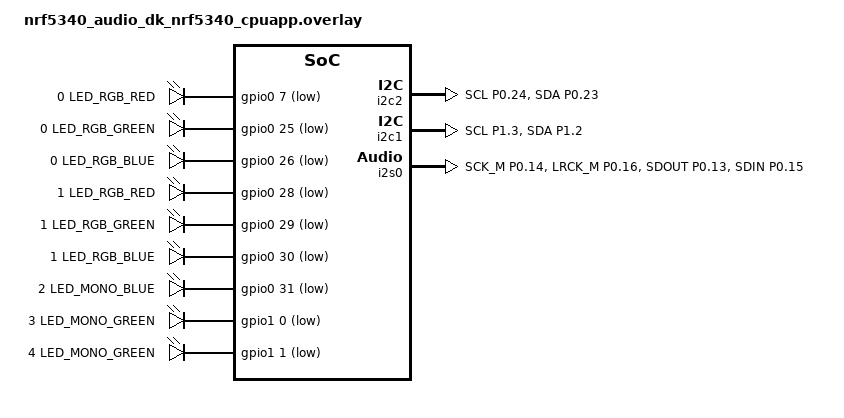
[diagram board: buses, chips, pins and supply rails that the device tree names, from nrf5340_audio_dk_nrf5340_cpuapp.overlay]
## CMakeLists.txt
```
cmake_minimum_required(VERSION 3.20.0)
find_package(Zephyr REQUIRED HINTS $ENV{ZEPHYR_BASE})

project(codec_test)

target_sources(app PRIVATE src/main.c)

target_sources(app PRIVATE src/i2c_helpers.c)

target_sources(app PRIVATE src/pmic.c)

target_sources(app PRIVATE src/codec_sgtl5000.c)
```

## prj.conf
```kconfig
CONFIG_GPIO=y

CONFIG_I2C=y

CONFIG_LOG=y

CONFIG_SERIAL=y

CONFIG_I2S=y
```

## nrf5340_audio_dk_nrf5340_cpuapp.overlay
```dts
&{/} {
    leds {
        compatible = "gpio-leds";

        rgb1_red: led_0 {
			gpios = <&gpio0 7 (GPIO_ACTIVE_LOW | GPIO_OPEN_DRAIN)>;
			label = "0 LED_RGB_RED";
		};

		rgb1_green: led_1 {
			gpios = <&gpio0 25 (GPIO_ACTIVE_LOW | GPIO_OPEN_DRAIN)>;
			label = "0 LED_RGB_GREEN";
		};

		rgb1_blue: led_2 {
			gpios = <&gpio0 26 (GPIO_ACTIVE_LOW | GPIO_OPEN_DRAIN)>;
			label = "0 LED_RGB_BLUE";
		};

		rgb2_red: led_3 {
			gpios = <&gpio0 28 (GPIO_ACTIVE_LOW | GPIO_OPEN_DRAIN)>;
			label = "1 LED_RGB_RED";
		};

		rgb2_green: led_4 {
			gpios = <&gpio0 29 (GPIO_ACTIVE_LOW | GPIO_OPEN_DRAIN)>;
			label = "1 LED_RGB_GREEN";
		};

		rgb2_blue: led_5 {
			gpios = <&gpio0 30 (GPIO_ACTIVE_LOW | GPIO_OPEN_DRAIN)>;
			label = "1 LED_RGB_BLUE";
		};

		led1_blue: led_6 {
			gpios = <&gpio0 31 (GPIO_ACTIVE_LOW | GPIO_OPEN_DRAIN)>;
			label = "2 LED_MONO_BLUE";
		};

		led2_green: led_7 {
			gpios = <&gpio1 0 (GPIO_ACTIVE_LOW | GPIO_OPEN_DRAIN)>;
			label = "3 LED_MONO_GREEN";
		};

		led3_green: led_8 {
			gpios = <&gpio1 1 (GPIO_ACTIVE_LOW | GPIO_OPEN_DRAIN)>;
			label = "4 LED_MONO_GREEN";
		};
    };
};

&i2c2 {
    status = "okay";
    pinctrl-0 = <&i2c2_default>;
    pinctrl-1 = <&i2c2_sleep>;
    pinctrl-names = "default", "sleep";
};

&i2c1 {
    status = "okay";
    pinctrl-0 = <&i2c1_default>;
    pinctrl-1 = <&i2c1_sleep>;
    pinctrl-names = "default", "sleep";
};

&clock {
	hfclkaudio-frequency = <12288000>;
};

&i2s0 {
	compatible = "nordic,nrf-i2s";
	status = "okay";
	pinctrl-0 = <&i2s0_default>;
	pinctrl-1 = <&i2s0_sleep>;
	pinctrl-names = "default", "sleep";
	clock-source = "ACLK";
};

&pinctrl {
    i2c1_default: i2c1_default {
        group1 {
            psels = <NRF_PSEL(TWIM_SCL, 1, 3)>,
                    <NRF_PSEL(TWIM_SDA, 1, 2)>;
        };
    };

    i2c1_sleep: i2c1_sleep {
        group1 {
            psels = <NRF_PSEL(TWIM_SCL, 1, 3)>,
                    <NRF_PSEL(TWIM_SDA, 1, 2)>;
        };
    };

	i2c2_default: i2c2_default {
        group1 {
            psels = <NRF_PSEL(TWIM_SCL, 0, 24)>, <NRF_PSEL(TWIM_SDA, 0, 23)>;
        };
    };

    i2c2_sleep: i2c2_sleep {
        group1 {
            psels = <NRF_PSEL(TWIM_SCL, 0, 24)>, <NRF_PSEL(TWIM_SDA, 0, 23)>;
        };
    };

	i2s0_default: i2s0_default {
		group1 {
			psels = <NRF_PSEL(I2S_SCK_M, 0, 14)>,
				<NRF_PSEL(I2S_LRCK_M, 0, 16)>,
				<NRF_PSEL(I2S_SDOUT, 0, 13)>,
				<NRF_PSEL(I2S_SDIN, 0, 15)>;
		};
	};

	i2s0_sleep: i2s0_sleep {
		group1 {
			psels = <NRF_PSEL(I2S_SCK_M, 0, 14)>,
				<NRF_PSEL(I2S_LRCK_M, 0, 16)>,
				<NRF_PSEL(I2S_SDOUT, 0, 13)>,
				<NRF_PSEL(I2S_SDIN, 0, 15)>;
			low-power-enable;
		};
	};
};
```

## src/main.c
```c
#include <zephyr/kernel.h>
#include <zephyr/sys/printk.h>
#include <zephyr/drivers/i2c.h>
#include <zephyr/drivers/i2s.h>
#include "pmic.h"
#include "i2c_helpers.h"
#include "codec_sgtl5000.h"

#define SAMPLE_RATE 32000
#define BLOCK_SIZE 2048
#define BLOCK_BYTES (BLOCK_SIZE * sizeof(int16_t))
#define NUM_BLOCKS 32
#define PRELOAD_BLOCKS  4

K_MEM_SLAB_DEFINE(i2s_slab, BLOCK_BYTES, NUM_BLOCKS, 4);

const struct device *codec_i2s = DEVICE_DT_GET(DT_NODELABEL(i2s0));

int i2s_start(void)
{
    struct i2s_config cfg = {
        .word_size      = 16,
        .channels       = 2,
        .format         = I2S_FMT_DATA_FORMAT_I2S,
        .options        = I2S_OPT_BIT_CLK_MASTER |
                          I2S_OPT_FRAME_CLK_MASTER,
        .frame_clk_freq = SAMPLE_RATE,
        .mem_slab       = &i2s_slab,
        .block_size     = BLOCK_BYTES,
        .timeout        = 1000,
    };

    int ret;

    ret = i2s_configure(codec_i2s, I2S_DIR_RX, &cfg);
    if (ret < 0) return ret;

    ret = i2s_configure(codec_i2s, I2S_DIR_TX, &cfg);
    if (ret < 0) return ret;

    return 0;
}


int main(void)
{
    int ret;
    void *blk;
    size_t size;

    ret = pmic_init();
    if (ret) return -1;

    pmic_debug_dump();

    codec_init();

    ret = i2s_start();
    if (ret) return -1;

    /* preload TX silence */
    for (int i = 0; i < PRELOAD_BLOCKS; i++) {
        ret = k_mem_slab_alloc(&i2s_slab, &blk, K_FOREVER);
        if (ret) return -1;

        memset(blk, 0, BLOCK_BYTES);

        ret = i2s_write(codec_i2s, blk, BLOCK_BYTES);
        if (ret) return -1;
    }

    /* start streams */
    ret = i2s_trigger(codec_i2s, I2S_DIR_BOTH, I2S_TRIGGER_START);
    if (ret) return -1;

    /* zero-copy pass-through */
    while (1) {
        ret = i2s_read(codec_i2s, &blk, &size);
        if (ret < 0) {
            printk("RX err %d\n", ret);
            break;
        }

        ret = i2s_write(codec_i2s, blk, size);
        if (ret < 0) {
            printk("TX err %d\n", ret);
            break;
        }
    }

    return 0;
}
```

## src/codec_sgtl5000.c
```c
#include <zephyr/kernel.h>
#include <zephyr/drivers/i2c.h>
#include <zephyr/drivers/i2s.h>
#include <zephyr/sys/printk.h>
#include <zephyr/device.h>
#include "i2c_helpers.h"

/* ===================== DEVICE ADDRESS ===================== */

#define SGTL5000_ADDR 0x0A

/* ===================== REGISTERS ===================== */

#define CHIP_ANA_POWER 0x0030
#define CHIP_LINREG_CTRL 0x0026
#define CHIP_REF_CTRL 0x0028
#define CHIP_LINE_OUT_CTRL 0x002C
#define CHIP_SHORT_CTRL 0X03C
#define CHIP_ANA_CTRL 0x0024
#define CHIP_DIG_POWER 0x0002
#define CHIP_LINE_OUT_VOL 0x002E
#define CHIP_CLK_CTRL 0x0004
#define CHIP_I2S_CTRL 0x0006
#define CHIP_SSS_CTRL 0x000A
#define CHIP_ANA_ADC_CTRL 0x0020
#define CHIP_DAC_VOL 0x0010
#define CHIP_ADCDAC_CTRL 0x000E

/* ===================== I2C ===================== */

const struct device *codec_i2c = DEVICE_DT_GET(DT_NODELABEL(i2c1));

/* ===================== HELPERS ===================== */

#define BIT_SHIFT(x) (1 << (x))

int codec_write(uint16_t reg, uint16_t val)
{
    return i2c_reg_write16_16(codec_i2c, SGTL5000_ADDR, reg, val);
}

int codec_mod(uint16_t reg, uint16_t clear_mask, uint16_t set_mask)
{
    return i2c_reg_update16_16(codec_i2c, SGTL5000_ADDR, reg, clear_mask, set_mask);
}

/* ===================== INIT SECTION ===================== */

void codec_init(void)
{
        //--------------- Power Supply Configuration----------------

        // Power up Bias reference and set stereo ADC/DAC, everything else power down
        codec_write(CHIP_ANA_POWER, 0x4060);

        // Configure the charge pump to use the VDDIO rail (set bit_ 5 and bit_SHIFT 6)
        codec_mod(CHIP_LINREG_CTRL, ~(BIT_SHIFT(5) | BIT_SHIFT(6)), (BIT_SHIFT(5) | BIT_SHIFT(6)));

        //---- Reference Voltage and Bias Current Configuration----

        // Set ground, ADC, DAC reference voltage (bits 8:4). Value 1.525V
        // The bias current should be set to 50% of the nominal value (bits 3:1)
        codec_write(CHIP_REF_CTRL, 0x1DE);

        // Set LINEOUT reference voltage to VDDIO/2 (1.65 V) (bits 5:0) and bias current (bits 11:8) to the recommended value of 0.36 mA for 10 kOhm load with 1.0 nF capacitance
        codec_mod(CHIP_LINE_OUT_CTRL, ~0x0322, 0x0322);

        //------------Other Analog Block Configurations--------------

        // Configure slow ramp up rate to minimize pop (bit 0)
        codec_mod(CHIP_REF_CTRL, ~BIT_SHIFT(0), BIT_SHIFT(0));

        // Enable short detect mode for headphone left/right
        // and center channel and set short detect current trip level
        // to 75 mA
        codec_write(CHIP_SHORT_CTRL, 0x1106);

        // Enable Zero-cross detect if needed for HP_OUT (bit 5) and ADC (bit 1)
        // ADC - mute, ZDC, LINEIN
        // HP - mute, ZDC, DAC
        // LINEOUT - mute
        codec_write(CHIP_ANA_CTRL, 0x0137);

        //------------Power up Inputs/Outputs/Digital Blocks---------
        // Power up LINEOUT, ADC, DAC
        codec_mod(CHIP_ANA_POWER, ~(0xB), 0xB);
        // Power up VAG (recommended sequence by datasheet)
        codec_mod(CHIP_ANA_POWER, ~0x80, 0x80);
        k_msleep(100);

        // Power up desired digital blocks
        // I2S IN/OUT - enabled
        // ADC/DAC - enabled
        codec_write(CHIP_DIG_POWER, 0x0063);

        //----------------Set LINEOUT Volume Level-------------------

        // Set the LINEOUT volume level based on voltage reference (VAG)
        // values using this formula
        // Value = (int)(40*log(VAG_VAL/LO_VAGCNTRL) + 15)
        // Assuming VAG_VAL and LO_VAGCNTRL is set to 0.9 V and
        //1.65 V respectively, the // left LO vol (bits 12:8) and right LO
        //volume (bits 4:0) value should be set // to 5
        // Recommended for 3.3V VDDIO and 3.2V VDDIO 
        codec_write(CHIP_LINE_OUT_VOL, 0x0E0E);

        //-------------------------Other-----------------------------

        // Configure SYS_FS clock to 32 kHz (bits 3:2)
        // Configure MCLK_FREQ to 384*Fs (bits 1:0)
        codec_mod(CHIP_CLK_CTRL, ~0xF, 0x1);

        // Configure the I2S in slave mode (bit 7)
        // Data length 16 bit
        // SCLK 64 * Fs
        codec_write(CHIP_I2S_CTRL, 0x30);

        //-------------------Input/Output Routing---------------------

        // I2S_DOUT <- ADC
        // DAC <- I2S_IN
        // DAP <- ADC (Default)
        // DAP_MIX <- ADC (Default)
        codec_write(CHIP_SSS_CTRL, 0x10);

        // Unmute ADC (bit 0) and LINEOUT (bit 8)
        codec_mod(CHIP_ANA_CTRL, ~0x101, 0x0);

        //------------------ Input Volume Control---------------------

        // Configure ADC left and right analog volume to desired default.
        // ADC range reduced by 6.0 dB (bit 8)
        // ADC Right/Left channel volume 0 dB (bits 7:4 and 3:0)
        codec_write(CHIP_ANA_ADC_CTRL, 0x144);

        //---------------- Volume and Mute Control---------------------

        // LINEOUT and DAC volume control
        // Mute Line Out
        codec_mod(CHIP_ANA_CTRL, ~0x100, 0x100);

        // Set volume of 0 dB
        codec_write(CHIP_DAC_VOL, 0x3C3C);

        // Unmute DAC left/right
        codec_mod(CHIP_ADCDAC_CTRL, ~0xC, 0x00);

        // Enable volume ramp exponential
        codec_mod(CHIP_ADCDAC_CTRL, ~0x300, 0x300);

        // Umnute Line Out
        codec_mod(CHIP_ANA_CTRL, ~0x100, 0x000);
}

/* ===================== PUBLIC API ===================== */

//TODO
int codec_set_input_gain();

//TODO
int codec_set_output_volume();
```

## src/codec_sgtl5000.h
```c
#pragma once

/**
 * @brief Initialize SGTL5000
 *
 * Must be called once at startup.
 *
 * TODO full spec
 * 
 * @return 0 on success, negative error code on failure
 */
int codec_init();

/**
 * @brief Sets input gain
 *
 * TODO accepted values
 *
 * @return 0 on success, negative error code on failure
 */
int codec_set_input_gain();

/**
 * @brief Changes output voltage
 *
 * TODO accepted values
 *
 * @return 0 on success, negative error code on failure
 */
int codec_set_output_volume();
```

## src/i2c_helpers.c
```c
#include <zephyr/drivers/i2c.h>
#include "i2c_helpers.h"

int i2c_reg_write16(const struct device *i2c,
                    uint8_t addr,
                    uint16_t reg,
                    uint8_t val)
{
    uint8_t buf[3];

    buf[0] = (reg >> 8) & 0xFF;
    buf[1] = reg & 0xFF;
    buf[2] = val;

    return i2c_write(i2c, buf, 3, addr);
}

int i2c_reg_read16(const struct device *i2c,
                   uint8_t addr,
                   uint16_t reg,
                   uint8_t *val)
{
    uint8_t addr_buf[2];

    addr_buf[0] = (reg >> 8) & 0xFF;
    addr_buf[1] = reg & 0xFF;

    return i2c_write_read(i2c, addr, addr_buf, 2, val, 1);
}

int i2c_reg_write16_16(const struct device *i2c,
                       uint8_t addr,
                       uint16_t reg,
                       uint16_t val)
{
    uint8_t buf[4];

    buf[0] = (reg >> 8) & 0xFF;
    buf[1] = reg & 0xFF;
    buf[2] = (val >> 8) & 0xFF;
    buf[3] = val & 0xFF;

    return i2c_write(i2c, buf, 4, addr);
}

int i2c_reg_read16_16(const struct device *i2c,
                      uint8_t addr,
                      uint16_t reg,
                      uint16_t *val)
{
    uint8_t addr_buf[2];
    uint8_t data[2];
    int ret;

    addr_buf[0] = (reg >> 8) & 0xFF;
    addr_buf[1] = reg & 0xFF;

    ret = i2c_write_read(i2c, addr, addr_buf, 2, data, 2);
    if (ret) {
        return ret;
    }

    *val = (data[0] << 8) | data[1];

    return 0;
}

int i2c_reg_update16_16(const struct device *i2c,
                        uint8_t addr,
                        uint16_t reg,
                        uint16_t clear_mask,
                        uint16_t set_value)
{
    int ret;
    uint16_t val;

    ret = i2c_reg_read16_16(i2c, addr, reg, &val);
    if (ret) return ret;

    val = (val & clear_mask) | set_value;

    return i2c_reg_write16_16(i2c, addr, reg, val);
}
```

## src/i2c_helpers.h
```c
#pragma once

#include <zephyr/device.h>
#include <stdint.h>

int i2c_reg_write16(const struct device *i2c,
                    uint8_t addr,
                    uint16_t reg,
                    uint8_t val);

int i2c_reg_read16(const struct device *i2c,
                   uint8_t addr,
                   uint16_t reg,
                   uint8_t *val);

int i2c_reg_write16_16(const struct device *i2c,
                       uint8_t addr,
                       uint16_t reg,
                       uint16_t val);

int i2c_reg_read16_16(const struct device *i2c,
                      uint8_t addr,
                      uint16_t reg,
                      uint16_t *val);

int i2c_reg_update16_16(const struct device *i2c,
                        uint8_t addr,
                        uint16_t reg,
                        uint16_t clear_mask,
                        uint16_t set_mask);
```

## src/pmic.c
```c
#include <zephyr/kernel.h>
#include <zephyr/drivers/i2c.h>
#include <zephyr/sys/printk.h>
#include <zephyr/device.h>
#include "i2c_helpers.h"

/* ===================== CONFIG ===================== */

#define NPM1304_ADDR        0x6B

/* ===================== BUCKs ===================== */

#define BUCK_STATUS_REG     0x0434
#define BUCK1_VOUT_REG      0x0408
#define BUCK2_VOUT_REG      0x040A
#define BUCK_SW_CTRL_REG    0x040F

#define BUCK1_VOUT_VAL      24U
#define BUCK2_VOUT_VAL      24U
#define BUCK_SW_ENABLE_ALL  0x03

/* ===================== LDOs ====================== */

#define LDO_STATUS_REG      0x0804
#define LDO1_MODE_REG       0x0808
#define LDO2_MODE_REG       0x0809
#define LDO1_VOUT_REG       0x080C
#define LDO2_VOUT_REG       0x080D
#define LDO1_SET_REG        0x0800
#define LDO2_SET_REG        0x0802

#define LDO1_VOUT_VAL       10U
#define LDO2_VOUT_VAL       8U

#define LDO_MODE_ENABLE     1U
#define LDO_ENABLE          1U

/* ===================== LEDs ====================== */

#define LED0_MODE_REG       0x0A00
#define LED1_MODE_REG       0x0A01
#define LED2_MODE_REG       0x0A02

#define LED0_SET_REG        0x0A03
#define LED0_CLR_REG        0x0A04
#define LED1_SET_REG        0x0A05
#define LED1_CLR_REG        0x0A06
#define LED2_SET_REG        0x0A07
#define LED2_CLR_REG        0x0A08

#define LED_MODE_HOST       0x02

static const uint16_t led_mode_regs[] = {
    LED0_MODE_REG,
    LED1_MODE_REG,
    LED2_MODE_REG
};

static const uint16_t led_set_regs[] = {
    LED0_SET_REG,
    LED1_SET_REG,
    LED2_SET_REG
};

static const uint16_t led_clr_regs[] = {
    LED0_CLR_REG,
    LED1_CLR_REG,
    LED2_CLR_REG
};

/* ===================== I2C ====================== */

static const struct device *i2c = DEVICE_DT_GET(DT_NODELABEL(i2c2));

/* ===================== HELPERS ===================== */

#define TRY(x) do { int r = (x); if (r) return r; } while (0)

static int pmic_reg_write(uint16_t reg, uint8_t val)
{
    return i2c_reg_write16(i2c, NPM1304_ADDR, reg, val);
}

static int pmic_reg_read(uint16_t reg, uint8_t *val)
{
    return i2c_reg_read16(i2c, NPM1304_ADDR, reg, val);
}

/* ===================== INIT SECTIONS ===================== */

static int pmic_init_bucks(void)
{
    TRY(pmic_reg_write(BUCK1_VOUT_REG, 10U));
    k_msleep(2);

    TRY(pmic_reg_write(BUCK2_VOUT_REG, BUCK2_VOUT_VAL));
    k_msleep(2);

    TRY(pmic_reg_write(BUCK_SW_CTRL_REG, BUCK_SW_ENABLE_ALL));
    k_msleep(2);

    if (BUCK1_VOUT_VAL>10)
    {
        for (unsigned int voltage = 11U; voltage <= BUCK1_VOUT_VAL; ++voltage)
        {
            TRY(pmic_reg_write(BUCK1_VOUT_REG, voltage));
            k_msleep(2);
        }
    }else
    {
        printk("Forbidden output voltage value!");
    }

    return 0;
}

static int pmic_init_ldos(void)
{
    TRY(pmic_reg_write(LDO1_VOUT_REG, LDO1_VOUT_VAL));
    k_msleep(2);

    TRY(pmic_reg_write(LDO2_VOUT_REG, LDO2_VOUT_VAL));
    k_msleep(2);

    TRY(pmic_reg_write(LDO1_MODE_REG, LDO_MODE_ENABLE));
    k_msleep(2);

    TRY(pmic_reg_write(LDO2_MODE_REG, LDO_MODE_ENABLE));
    k_msleep(2);

    
    TRY(pmic_reg_write(LDO1_SET_REG, LDO_ENABLE));
    k_msleep(2);
    
    for (unsigned int voltage = 2U; voltage <= 22U; ++voltage)
        {
            TRY(pmic_reg_write(LDO1_VOUT_REG, voltage));
            k_msleep(10);
        }

    TRY(pmic_reg_write(LDO2_SET_REG, LDO_ENABLE));
    k_msleep(20);
  
    return 0;
}

static int pmic_init_leds(void)
{
    for (int i = 0; i < 3; i++) {
        TRY(pmic_reg_write(led_mode_regs[i], LED_MODE_HOST));
        k_msleep(2);
    }

    return 0;
}

/* ===================== PUBLIC API ===================== */

int pmic_init(void)
{
    if (!device_is_ready(i2c)) {
        printk("PMIC: I2C not ready\n");
        return -ENODEV;
    }

    int ret;

    ret = pmic_init_bucks();
    if (ret) goto error;

    
    ret = pmic_init_ldos();
    if (ret) goto error;
    

    ret = pmic_init_leds();
    if (ret) goto error;

    printk("PMIC init OK\n");
    return 0;

error:
    printk("PMIC init failed: %d\n", ret);
    return ret;
}

void pmic_debug_dump(void)
{
    uint8_t val;

    printk("\n=== PMIC STATUS ===\n");

    if (!pmic_reg_read(BUCK_STATUS_REG, &val))
        printk("BUCK STATUS: 0x%02X\n", val);
    else
        printk("BUCK STATUS: ERROR\n");

    if (!pmic_reg_read(LDO_STATUS_REG, &val))
        printk("LDO STATUS: 0x%02X\n", val);
    else
        printk("LDO STATUS: ERROR\n");

    if (!pmic_reg_read(BUCK1_VOUT_REG, &val))
        printk("BUCK1 VOUT: %d\n", val);

    if (!pmic_reg_read(BUCK2_VOUT_REG, &val))
        printk("BUCK2 VOUT: %d\n", val);

    if (!pmic_reg_read(LDO1_VOUT_REG, &val))
        printk("LDO1 VOUT: %d\n", val);

    if (!pmic_reg_read(LDO2_VOUT_REG, &val))
        printk("LDO2 VOUT: %d\n", val);

    printk("====================\n\n");
}

/* ===================== LED CONTROL ===================== */

void pmic_led_on(int led)
{
    if (led < 0 || led > 2)
        return;

    pmic_reg_write(led_set_regs[led], 1);
}

void pmic_led_off(int led)
{
    if (led < 0 || led > 2)
        return;

    pmic_reg_write(led_clr_regs[led], 1);
}
```
